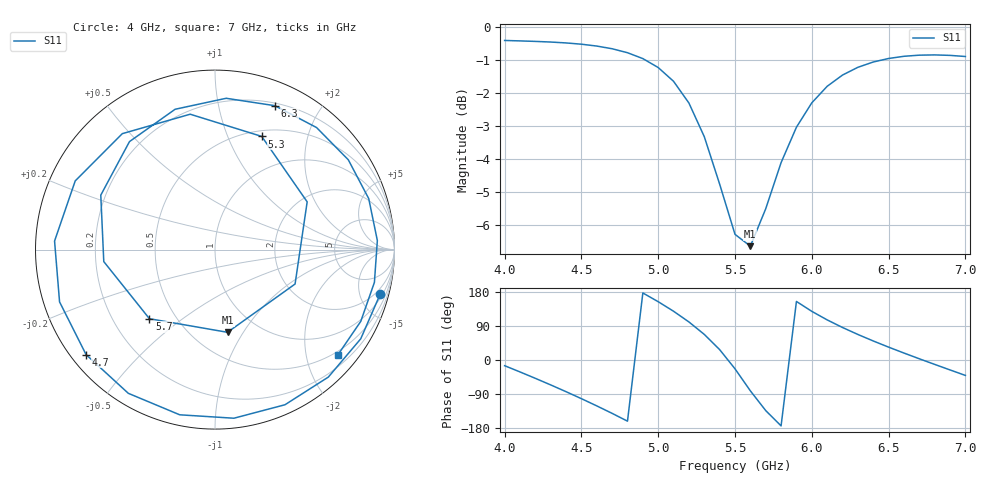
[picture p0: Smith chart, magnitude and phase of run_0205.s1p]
! Touchstone file exported from HFSS 2024.2.0
!  File:  C:/Users/wsak9/Desktop/Sim Fast/Widenad Patch/WP_AI_V1_sweep.aedt
!  Generated:  11:31:05 PM Oct 13, 2026
!  Design:  A1_model
!  Project:  WP_AI_V1_sweep
!  Setup:  Setup1
!  Solution:  Sweep
! Variables:
!  Air_gap = 1.66mm
!  Curve_Amp1 = 1.18
!  Curve_len1 = 1
!  Curve_pos = 10.575mm
!  Extra = 1.01mm
!  H_sub = 0.79mm
!  L_Patch = 17.15mm
!  L_Patch1 = 9.46mm
!  Sx = 3.2mm
!  Sy = 3.74mm
!  WS = 1.36mm
!  W_Patch = 17.84mm
!  W_Patch1 = 8.45mm
!Data is not renormalized
# GHz S MA
! Terminal data exported
! Port[1] = 1
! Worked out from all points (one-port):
!   31 points, 4 GHz to 7 GHz, reference per port
!   lowest |S11| = -6.6 dB at 5.6 GHz (marker M1), VSWR 2.75
!   |S11| at or under -10 dB: nowhere
!   S11 on the Smith chart (normalised r, x): 4 GHz: 1.35, -7.34; 4.7 GHz: 0.04, -0.36; 5.3 GHz: 0.57, +1.33; 5.7 GHz: 0.36, -0.38; 6.3 GHz: 0.23, +1.48; 7 GHz: 0.42, -2.64
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4  0.9535 -15.0
4.1  0.952 -31.5
4.2  0.9504 -48.4
4.3  0.9483 -65.7
4.4  0.9453 -83.6
4.5  0.9411 -102.0
4.6  0.9351 -121.1
4.7  0.9264 -140.8
4.8  0.9137 -161.4
4.9  0.8952 176.9
5  0.8678 153.8
5.1  0.8271 128.6
5.2  0.7669 100.4
5.3  0.6822 67.6
5.4  0.5783 27.4
5.5  0.4856 -23.3
5.6  0.466 -81.4
5.7  0.5308 -133.5
5.8  0.6232 -173.8
5.9  0.705 154.5
6  0.7675 128.4
6.1  0.8129 105.9
6.2  0.8454 85.8
6.3  0.8685 67.4
6.5  0.8955 34.0
6.7  0.9059 3.2
6.8  0.9067 -11.6
7  0.9017 -40.7
